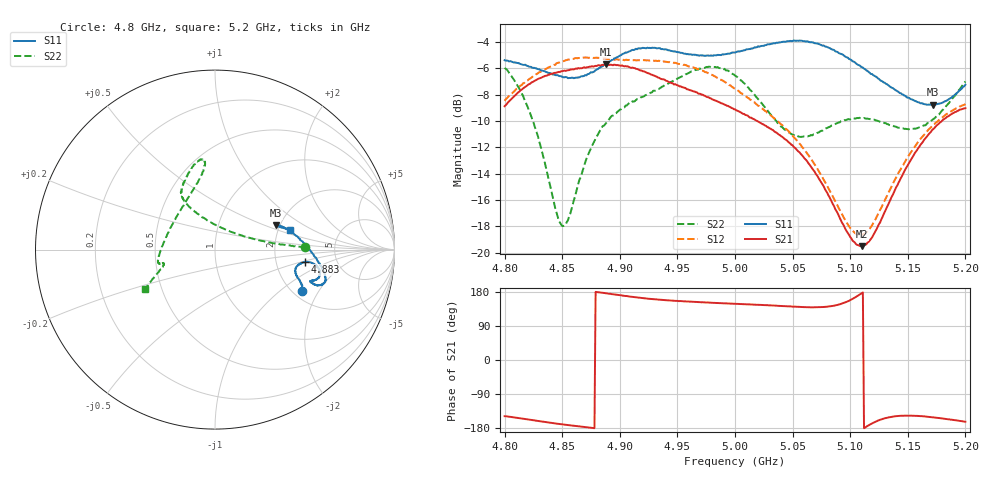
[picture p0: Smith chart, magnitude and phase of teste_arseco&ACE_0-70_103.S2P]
! Network Analyzer HP8722D
! Hewlett-Packard
! Data name: Linha & Wilkinson
! Saver's name: Rodrigo Anjos
! Comments: Teste da utilização de aquisição
! continua pelo VNA HP8722D
! Time and date: 8/5/2025 13:37
!  Frequency  S11  S21  S12  S22
# HZ  S  MA R 50
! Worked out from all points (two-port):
!   401 points, 4.8 GHz to 5.2 GHz, reference 50 ohm
!   highest |S21| = -5.70 dB at 4.888 GHz (marker M1); lowest = -19.5 dB at 5.11 GHz (marker M2)
!   |S21| within 3 dB of the highest: 4.802 GHz to 4.99 GHz (187.8 MHz wide, 3.84 % of centre)
!   lowest |S11| = -8.8 dB at 5.172 GHz (marker M3), VSWR 2.15, Z = 95.2 + j29.6 ohm
!   |S11| at or under -10 dB: nowhere
!   |S22| runs from -18.0 to -5.9 dB; largest |S21 - S12| = 1.1
!   S11 on the Smith chart (normalised r, x): 4.8 GHz: 2.23, -1.46; 4.883 GHz: 2.93, -0.54; 5.2 GHz: 2.33, +0.63
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4.8e9  0.5389 -25.6  0.3601 -148.3  0.3777 11.2  0.5034 1.6
4.812e9  0.5259 -22.3  0.4074 -153.0  0.4244 9.3  0.425 2.7
4.823e9  0.5079 -20.5  0.4421 -158.0  0.4616 7.8  0.3306 6.1
4.849e9  0.4686 -16.3  0.4887 -169.5  0.5311 3.6  0.1281 57.4
4.855e9  0.4601 -14.7  0.4935 -171.7  0.5417 2.7  0.1326 84.8
4.867e9  0.4683 -11.3  0.5022 -175.9  0.5492 1.0  0.1998 112.5
4.883e9  0.5055 -7.9  0.5135 178.1  0.549 -0.4  0.2916 121.7
4.888e9  0.522 -7.7  0.5191 176.0  0.5456 -0.6  0.3104 122.0
4.912e9  0.5887 -10.5  0.5034 166.1  0.5387 -0.0  0.375 119.8
4.934e9  0.5993 -15.4  0.4621 159.1  0.5368 -1.1  0.4193 113.6
4.976e9  0.5616 -18.4  0.3899 151.9  0.483 -4.8  0.5073 99.4
5e9  0.5764 -19.1  0.3506 148.2  0.4204 -4.8  0.4713 97.3
5.018e9  0.6021 -19.2  0.3183 146.0  0.3683 -2.3  0.3926 103.7
5.044e9  0.6327 -17.2  0.2689 142.0  0.2955 3.3  0.2918 131.2
5.067e9  0.63 -13.2  0.209 139.1  0.2238 9.6  0.2791 164.4
5.098e9  0.5508 -3.1  0.1186 155.1  0.1279 36.1  0.3216 -170.3
5.11e9  0.5073 2.6  0.1058 176.2  0.1167 60.0  0.3237 -166.9
5.119e9  0.4775 7.1  0.1143 -167.4  0.127 77.4  0.3211 -165.9
5.134e9  0.43 14.2  0.1557 -151.0  0.1715 94.7  0.3054 -165.7
5.156e9  0.3778 21.0  0.2386 -147.1  0.2524 102.3  0.2959 -163.9
5.172e9  0.3647 21.7  0.2945 -151.1  0.3053 103.0  0.3208 -160.2
5.2e9  0.4347 14.7  0.354 -162.9  0.3673 103.5  0.4474 -150.4
